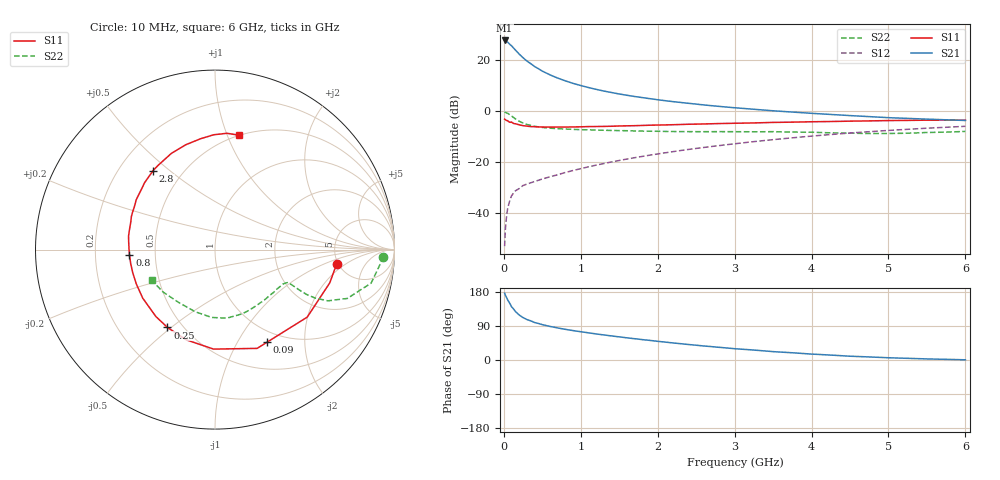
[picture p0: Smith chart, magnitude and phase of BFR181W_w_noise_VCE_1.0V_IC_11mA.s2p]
! (c) 2017  Infineon Technologies AG, Munich
! Infineon Technologies  Discrete & RF Semiconductors
! BFR181W
! VCE =  1.0 V,  IC =  11 mA
! Common Emitter S-Parameters:  Jan 2017
# GHz  S  MA  R  50
!  f  S11  S21  S12  S22
! GHz  MAG  ANG  MAG  ANG  MAG  ANG  MAG  ANG
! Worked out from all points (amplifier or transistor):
!   77 points, 10 MHz to 6 GHz, reference 50 ohm
!   highest |S21| = 27.5 dB at 10 MHz (marker M1)
!   |S21| within 3 dB of that: start of sweep to 127.1 MHz
!   unconditionally stable (mu >= 1): 465.4 MHz to 3.835 GHz; 5.56 GHz to end of sweep
!   at 130 MHz: K = 0.42, MSG = 28.3 dB, |S12| = -32.2 dB
!   at 2.2 GHz: K = 1.22, MAG = 7.0 dB, |S12| = -16.1 dB
!   at 6 GHz: K = 1.02, MAG = 0.3 dB, |S12| = -6.1 dB
!   lowest NFmin = 1.29 dB at 450 MHz
!   S11 on the Smith chart (normalised r, x): 10 MHz: 4.84, -1.46; 90 MHz: 0.84, -1.34; 250 MHz: 0.41, -0.49; 800 MHz: 0.35, -0.03; 2.8 GHz: 0.34, +0.44; 6 GHz: 0.50, +1.10
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0.01  0.6824 -6.8  23.83 176.4  0.0022 88.3  0.9377 -2.4
0.02  0.6656 -16.2  23.38 171.1  0.0047 90.6  0.925 -4.8
0.05  0.6369 -36.2  22.09 158.4  0.0121 73.6  0.8899 -12.1
0.09  0.5918 -60.6  19.24 144.6  0.0195 65.3  0.8048 -18.5
0.1  0.5984 -66.9  18.73 140.6  0.0214 64.1  0.7853 -20.3
0.15  0.5544 -90.8  15.48 128.0  0.0268 56.3  0.6909 -24.4
0.2  0.5277 -107.7  12.86 118.7  0.0297 53.2  0.6208 -25.8
0.25  0.5081 -121.4  10.92 111.9  0.0341 51.3  0.5715 -26.1
0.3  0.4975 -131.5  9.396 106.7  0.0363 50.7  0.5359 -25.8
0.4  0.4851 -146.1  7.339 98.9  0.0408 53.4  0.4937 -25.1
0.5  0.4783 -156.5  5.97 93.3  0.0457 54.9  0.4693 -24.6
0.6  0.4761 -164.4  5.041 88.6  0.0505 57.6  0.4536 -24.4
0.8  0.4775 -176.3  3.841 80.9  0.0614 62.6  0.4362 -25.2
0.9  0.4793 179.2  3.427 77.6  0.0671 63.2  0.43 -26.1
1.1  0.4874 171.2  2.842 71.7  0.0791 65.8  0.421 -28.2
1.5  0.5009 158.5  2.125 61.0  0.1055 68.3  0.406 -34.3
2.1  0.5258 142.9  1.569 47.2  0.1494 68.8  0.3916 -46.7
2.8  0.5592 128.0  1.212 33.4  0.2067 66.2  0.3881 -63.6
3.1  0.5692 122.2  1.11 28.4  0.2333 64.1  0.3862 -70.9
4.1  0.6087 103.9  0.869 14.6  0.3263 55.5  0.3735 -95.6
5.1  0.6414 89.4  0.719 5.3  0.4181 44.7  0.3583 -127.8
6  0.6513 78.1  0.642 0.5  0.4933 34.2  0.3921 -154.2
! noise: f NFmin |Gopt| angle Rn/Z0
0.45  1.29  0.12  17  0.21
0.9  1.33  0.12  31  0.21
1.9  1.76  0.04  -171  0.2
2.4  1.95  0.05  -122  0.25
